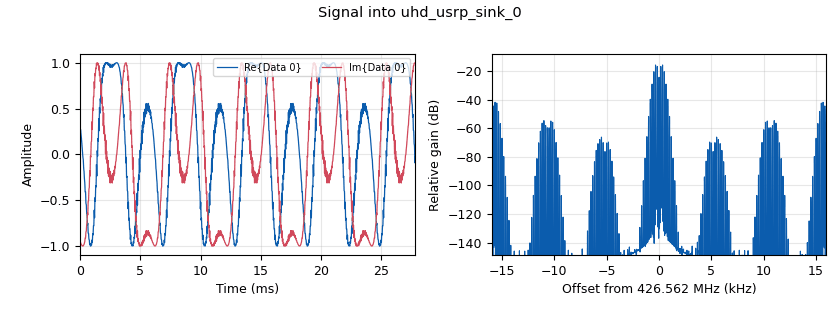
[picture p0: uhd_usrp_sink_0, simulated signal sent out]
options:
  parameters:
    author: julianajaime
    generate_options: no_gui
    id: fm_transmiter_zmq
    output_language: python
    title: Transmitter
  states: {}

blocks:
- name: audio_samp_rate
  id: variable
  parameters:
    value: 48e3
  states: {}
- name: lpf_decim
  id: variable
  parameters:
    value: '5'
  states: {}
- name: samp_rate
  id: variable
  parameters:
    value: '32000'
  states: {}
- name: samp_rate_0
  id: variable
  parameters:
    value: 1e6
  states: {}
- name: server_address
  id: variable
  parameters:
    value: '"172.16.1.202"'
  states: {}
- name: server_port
  id: variable
  parameters:
    value: '30000'
  states: {}
- name: tx_gain
  id: variable
  parameters:
    value: '0'
  states: {}
- name: analog_nbfm_tx_0
  id: analog_nbfm_tx
  parameters:
    audio_rate: samp_rate
    fh: '-1.0'
    max_dev: '5000'
    quad_rate: '192000'
    tau: '75e-6'
  states: {}
- name: analog_sig_source_x_0
  id: analog_sig_source_x
  parameters:
    amp: '0.5'
    freq: '1000'
    offset: '0'
    phase: '0'
    samp_rate: samp_rate
    type: float
    waveform: analog.GR_SIN_WAVE
  states: {}
- name: freq
  id: parameter
  parameters:
    type: eng_float
    value: 426.5625e6
  states: {}
- name: uhd_usrp_sink_0
  id: uhd_usrp_sink
  parameters:
    ant0: '"TX/RX"'
    bw0: '5000'
    center_freq0: freq
    gain0: tx_gain
    samp_rate: samp_rate
    stream_args: fc32
    sync: none
    type: fc32
  states: {}
- name: xmlrpc_server_0_0
  id: xmlrpc_server
  parameters:
    addr: str(server_address)
    port: int(server_port)
  states: {}

connections:
- [analog_nbfm_tx_0, '0', uhd_usrp_sink_0, '0']
- [analog_sig_source_x_0, '0', analog_nbfm_tx_0, '0']

metadata:
  file_format: 1
  grc_version: 3.10.12.0
